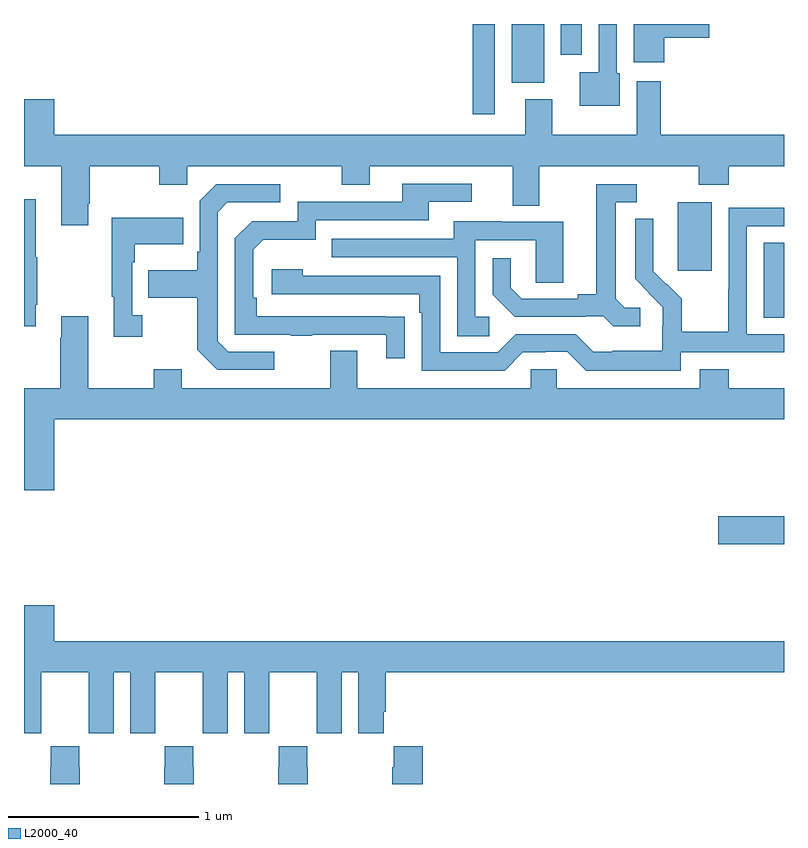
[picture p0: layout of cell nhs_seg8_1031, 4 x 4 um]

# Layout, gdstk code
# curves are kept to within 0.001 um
import gdstk
lib = gdstk.Library(unit=1e-6, precision=1e-09)
def R(c, l, rs):  # rectangles x0, y0, x1, y1
    for r in rs: c.add(gdstk.rectangle(r[:2], r[2:], *l))
def P(c, l, *ps):  # polygons
    for p in ps: c.add(gdstk.Polygon(p, *l))
L2000_40 = (2000, 40)

nhs_seg8_1031 = lib.new_cell('nhs_seg8_1031')
R(nhs_seg8_1031, L2000_40, [(180.654,1129.163,181,1129.31), (180.893,1130.353,181,1130.75), (180.44,1130.601,180.619,1130.962), (179.362,1131.426,179.478,1131.9), (179.567,1131.59,179.737,1131.9), (179.825,1131.738,179.935,1131.9)])
P(nhs_seg8_1031, L2000_40, [(180.371,1131.827),(180.607,1131.827),(180.607,1131.9),(180.209,1131.9),(180.209,1131.699),(180.371,1131.699)],
  [(180.136,1131.642),(180.12,1131.642),(180.12,1131.9),(180.024,1131.9),(180.024,1131.646),(179.924,1131.646),(179.924,1131.47),(180.136,1131.47)],
  [(177.337,1130.953),(177.345,1130.953),(177.345,1131.152),(177.712,1131.152),(177.712,1131.053),(177.858,1131.053),(177.858,1131.152),(178.672,1131.152),(178.672,1131.053),(178.819,1131.053),(178.819,1131.152),(179.573,1131.152),(179.573,1130.944),(179.713,1130.944),(179.713,1131.152),(180.55,1131.152),(180.55,1131.053),(180.71,1131.053),(180.71,1131.152),(181,1131.152),(181,1131.316),(180.35,1131.316),(180.35,1131.598),(180.224,1131.598),(180.224,1131.316),(179.779,1131.316),(179.779,1131.505),(179.639,1131.505),(179.639,1131.316),(177.16,1131.316),(177.16,1131.505),(177,1131.505),(177,1131.152),(177.197,1131.152),(177.197,1130.841),(177.337,1130.841)],
  [(179.003,1130.36),(178.226,1130.361),(178.226,1130.458),(178.206,1130.458),(178.206,1130.712),(178.259,1130.765),(178.536,1130.765),(178.536,1130.868),(179.131,1130.868),(179.131,1130.964),(179.356,1130.964),(179.356,1131.06),(178.991,1131.06),(178.991,1130.964),(178.44,1130.964),(178.44,1130.862),(178.2,1130.862),(178.11,1130.772),(178.11,1130.265),(178.405,1130.265),(178.405,1130.26),(178.517,1130.26),(178.517,1130.265),(178.907,1130.265),(178.907,1130.142),(179.003,1130.142)],
  [(180.244,1130.406),(180.162,1130.406),(180.115,1130.453),(180.115,1130.961),(180.226,1130.961),(180.226,1131.057),(180.011,1131.057),(180.011,1130.477),(179.915,1130.477),(179.915,1130.454),(179.62,1130.454),(179.563,1130.511),(179.563,1130.668),(179.466,1130.668),(179.466,1130.474),(179.582,1130.358),(179.954,1130.358),(179.954,1130.361),(180.048,1130.361),(180.1,1130.309),(180.244,1130.309)],
  [(178.318,1130.175),(178.074,1130.175),(178.02,1130.229),(178.02,1130.91),(178.071,1130.961),(178.348,1130.961),(178.348,1131.057),(178.011,1131.057),(177.924,1130.97),(177.924,1130.701),(177.912,1130.701),(177.912,1130.605),(177.655,1130.605),(177.655,1130.458),(177.912,1130.458),(177.912,1130.185),(178.017,1130.079),(178.318,1130.079)],
  [(177.061,1130.422),(177.069,1130.422),(177.069,1130.673),(177.061,1130.673),(177.061,1130.977),(177,1130.977),(177,1130.31),(177.061,1130.31)],
  [(180.456,1130.172),(181,1130.172),(181,1130.268),(180.804,1130.268),(180.804,1130.835),(181,1130.835),(181,1130.934),(180.708,1130.934),(180.708,1130.504),(180.706,1130.504),(180.706,1130.281),(180.461,1130.281),(180.461,1130.455),(180.384,1130.532),(180.381,1130.529),(180.311,1130.6),(180.312,1130.876),(180.216,1130.876),(180.216,1130.558),(180.362,1130.41),(180.362,1130.313),(180.36,1130.313),(180.36,1130.179),(180.097,1130.179),(180.097,1130.175),(179.997,1130.175),(179.904,1130.268),(179.589,1130.268),(179.493,1130.172),(179.19,1130.172),(179.19,1130.574),(178.466,1130.574),(178.466,1130.608),(178.305,1130.608),(178.305,1130.478),(179.081,1130.478),(179.081,1130.381),(179.094,1130.381),(179.094,1130.076),(179.529,1130.076),(179.625,1130.172),(179.744,1130.172),(179.744,1130.175),(179.859,1130.175),(179.959,1130.075),(180.456,1130.075)],
  [(177.622,1130.366),(177.57,1130.366),(177.57,1130.645),(177.583,1130.645),(177.583,1130.741),(177.839,1130.741),(177.839,1130.881),(177.462,1130.881),(177.462,1130.465),(177.473,1130.465),(177.473,1130.253),(177.622,1130.253)],
  [(179.449,1130.358),(179.376,1130.358),(179.376,1130.763),(179.694,1130.763),(179.694,1130.539),(179.839,1130.539),(179.839,1130.859),(179.515,1130.859),(179.515,1130.863),(179.261,1130.863),(179.261,1130.769),(178.621,1130.769),(178.621,1130.673),(179.28,1130.673),(179.28,1130.257),(179.449,1130.257)],
  [(177.16,1129.82),(181,1129.82),(181,1129.984),(180.71,1129.984),(180.71,1130.083),(180.557,1130.083),(180.557,1129.984),(179.805,1129.984),(179.805,1130.082),(179.667,1130.082),(179.667,1129.984),(178.753,1129.984),(178.753,1130.179),(178.613,1130.179),(178.613,1129.984),(177.829,1129.984),(177.829,1130.083),(177.682,1130.083),(177.682,1129.984),(177.337,1129.984),(177.337,1130.362),(177.197,1130.362),(177.197,1130.249),(177.19,1130.249),(177.19,1129.984),(177,1129.984),(177,1129.446),(177.16,1129.446)],
  [(177.09,1128.28),(177.091,1128.28),(177.091,1128.488),(177.341,1128.488),(177.341,1128.28),(177.342,1128.28),(177.342,1128.168),(177.472,1128.168),(177.472,1128.488),(177.56,1128.488),(177.56,1128.168),(177.69,1128.168),(177.69,1128.28),(177.691,1128.28),(177.691,1128.488),(177.941,1128.488),(177.941,1128.28),(177.942,1128.28),(177.942,1128.168),(178.072,1128.168),(178.072,1128.488),(178.16,1128.488),(178.16,1128.168),(178.29,1128.168),(178.29,1128.28),(178.291,1128.28),(178.291,1128.488),(178.541,1128.488),(178.541,1128.28),(178.542,1128.28),(178.542,1128.168),(178.672,1128.168),(178.672,1128.488),(178.76,1128.488),(178.76,1128.168),(178.894,1128.168),(178.894,1128.28),(178.904,1128.28),(178.904,1128.488),(181,1128.488),(181,1128.652),(177.16,1128.652),(177.16,1128.841),(177,1128.841),(177,1128.168),(177.09,1128.168)],
  [(179.099,1128.1),(178.945,1128.1),(178.945,1127.987),(178.939,1127.987),(178.939,1127.9),(179.099,1127.9)],
  [(178.494,1127.987),(178.491,1127.987),(178.491,1128.1),(178.341,1128.1),(178.341,1127.987),(178.339,1127.987),(178.339,1127.9),(178.494,1127.9)],
  [(177.894,1127.987),(177.891,1127.987),(177.891,1128.1),(177.741,1128.1),(177.741,1127.987),(177.739,1127.987),(177.739,1127.9),(177.894,1127.9)],
  [(177.294,1127.987),(177.291,1127.987),(177.291,1128.1),(177.141,1128.1),(177.141,1127.987),(177.139,1127.987),(177.139,1127.9),(177.294,1127.9)])

lib.write_gds('nhs_seg8_1031.gds')
